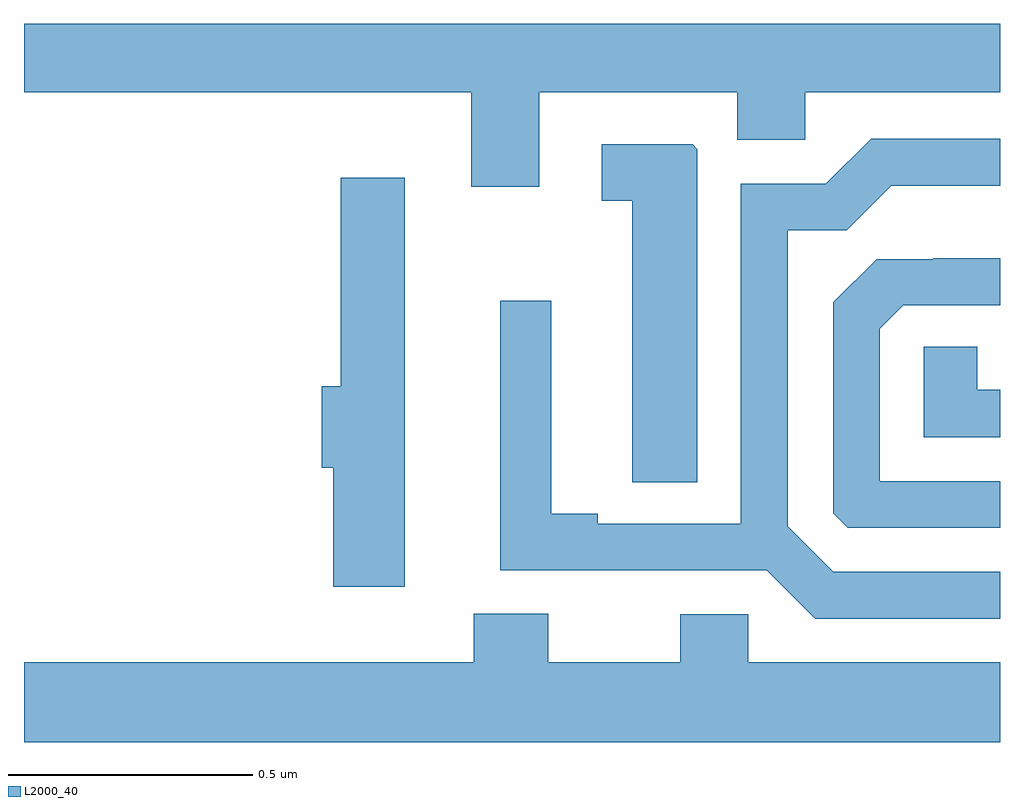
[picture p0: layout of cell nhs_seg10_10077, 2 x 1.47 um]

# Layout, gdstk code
import gdstk
lib = gdstk.Library(unit=1e-6, precision=1e-09)
def P(c, l, *ps):  # polygons
    for p in ps: c.add(gdstk.Polygon(p, *l))
L2000_40 = (2000, 40)

nhs_seg10_10077 = lib.new_cell('nhs_seg10_10077')
P(nhs_seg10_10077, L2000_40, [(239.056,1256.36),(239.462,1256.36),(239.462,1256.262),(239.601,1256.262),(239.601,1256.36),(240,1256.36),(240,1256.5),(238,1256.5),(238,1256.36),(238.916,1256.36),(238.916,1256.166),(239.056,1256.166)],
  [(240,1255.377),(239.658,1255.377),(239.565,1255.47),(239.565,1256.077),(239.686,1256.077),(239.777,1256.168),(240,1256.168),(240,1256.265),(239.736,1256.265),(239.643,1256.172),(239.469,1256.172),(239.469,1255.476),(239.176,1255.476),(239.176,1255.496),(239.08,1255.496),(239.08,1255.933),(238.976,1255.933),(238.976,1255.38),(239.522,1255.38),(239.621,1255.281),(240,1255.281)],
  [(239.38,1256.243),(239.37,1256.253),(239.184,1256.253),(239.184,1256.137),(239.246,1256.137),(239.246,1255.561),(239.38,1255.561)],
  [(238.78,1256.185),(238.649,1256.185),(238.649,1255.757),(238.61,1255.757),(238.61,1255.59),(238.634,1255.59),(238.634,1255.346),(238.78,1255.346)],
  [(240,1255.563),(239.754,1255.563),(239.754,1255.875),(239.802,1255.923),(240,1255.923),(240,1256.02),(239.863,1256.02),(239.863,1256.018),(239.747,1256.018),(239.658,1255.929),(239.658,1255.497),(239.688,1255.467),(240,1255.467)],
  [(240,1255.75),(239.953,1255.75),(239.953,1255.838),(239.844,1255.838),(239.844,1255.653),(240,1255.653)],
  [(240,1255.192),(239.484,1255.192),(239.484,1255.29),(239.345,1255.29),(239.345,1255.192),(239.074,1255.192),(239.074,1255.291),(238.922,1255.291),(238.922,1255.192),(238,1255.192),(238,1255.028),(240,1255.028)])

lib.write_gds('nhs_seg10_10077.gds')
